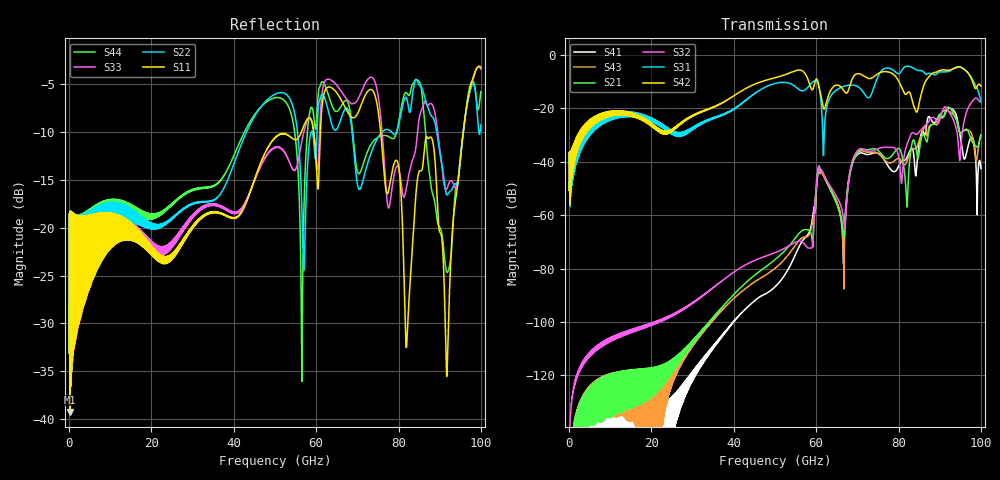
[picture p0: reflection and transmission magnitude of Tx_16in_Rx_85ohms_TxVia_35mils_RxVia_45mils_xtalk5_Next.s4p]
! Info: Touchstone file created by Circ.  Input file=Tx_16in_Rx_85ohms_TxVia_35mils_RxVia_45mils.circ
# Hz S RI R 50
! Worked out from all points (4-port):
!   10000 points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, 10 MHz to 100 GHz, reference 50 ohm
!   strongest paths, dB at 10 MHz, 25.01 GHz, 50.01 GHz, 75.01 GHz, 100 GHz:
!     S42: -50.7, -28.1, -8.5, -7.0, -11.7
!     S31: -50.7, -29.4, -10.7, -8.0, -17.3
!     S32: -162.3, -97.3, -74.0, -35.1, -17.6
!     S21: -175.8, -114.0, -76.6, -35.7, -29.9
!     S43: -175.7, -116.6, -79.8, -36.8, -30.4
!     S41: -181.2, -136.4, -86.8, -36.8, -42.5
!   lowest |S11| = -39.3 dB at 200 MHz (marker M1), VSWR 1.02, Z = 49.2 - j0.693 ohm
!   |S11| at or under -10 dB: start of sweep to 56.42 GHz; 59.4 GHz to 61.04 GHz (1.642 GHz wide, 2.73 % of centre); 75.66 GHz to 95.73 GHz (20.08 GHz wide, 23.4 % of centre)
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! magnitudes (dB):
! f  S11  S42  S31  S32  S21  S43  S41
! 10 MHz  -33.1  -50.7  -50.7  -162.3  -175.8  -175.7  -181.2
! 200 MHz  -39.3  -46.1  -46.1  -139.8  -153.9  -153.8  -160.6
! 58.6 GHz  -8.6  -11.8  -11.0  -72.3  -66.2  -66.1  -65.1
! 60.75 GHz  -13.5  -12.6  -12.3  -41.8  -41.6  -41.9  -41.9
! 66.61 GHz  -7.1  -13.1  -11.7  -61.1  -67.8  -72.8  -77.1
! 91.75 GHz  -35.4  -5.7  -6.3  -20.0  -19.8  -20.5  -20.6
! 100 GHz  -3.3  -11.7  -17.3  -17.6  -29.9  -30.4  -42.5
